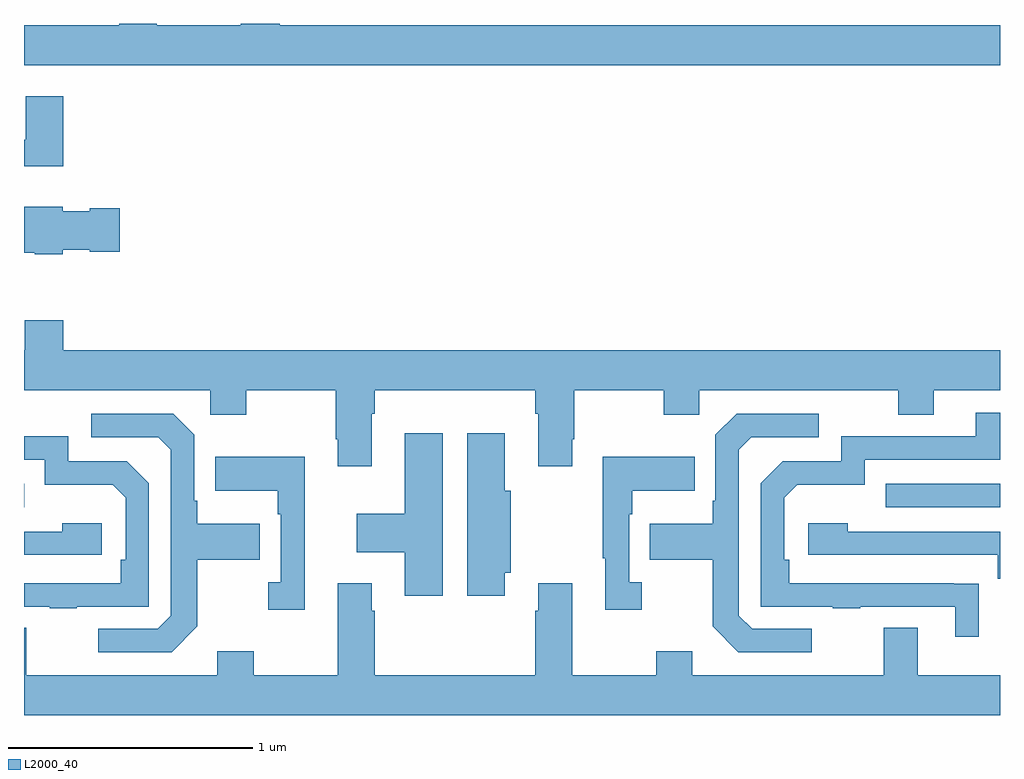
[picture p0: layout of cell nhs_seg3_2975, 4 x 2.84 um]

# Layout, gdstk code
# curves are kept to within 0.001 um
import gdstk
lib = gdstk.Library(unit=1e-6, precision=1e-09)
def R(c, l, rs):  # rectangles x0, y0, x1, y1
    for r in rs: c.add(gdstk.rectangle(r[:2], r[2:], *l))
def P(c, l, *ps):  # polygons
    for p in ps: c.add(gdstk.Polygon(p, *l))
L2000_40 = (2000, 40)

nhs_seg3_2975 = lib.new_cell('nhs_seg3_2975')
R(nhs_seg3_2975, L2000_40, [(265,720.417,265.001,720.513), (268.531,720.417,269,720.513)])
P(nhs_seg3_2975, L2000_40, [(269,722.392),(266.048,722.392),(266.048,722.4),(265.888,722.4),(265.888,722.392),(265.545,722.392),(265.545,722.4),(265.39,722.4),(265.39,722.392),(265,722.392),(265,722.228),(269,722.228)],
  [(265.16,722.101),(265.007,722.101),(265.007,721.924),(265,721.924),(265,721.814),(265.16,721.814)],
  [(265.158,721.472),(265.269,721.472),(265.269,721.465),(265.393,721.465),(265.393,721.643),(265.269,721.643),(265.269,721.63),(265.158,721.63),(265.158,721.648),(265,721.648),(265,721.46),(265.044,721.46),(265.044,721.454),(265.158,721.454)],
  [(265.16,721.184),(265.003,721.184),(265.003,721.06),(265,721.06),(265,720.896),(265.764,720.896),(265.764,720.797),(265.911,720.797),(265.911,720.896),(266.278,720.896),(266.278,720.697),(266.285,720.697),(266.285,720.585),(266.425,720.585),(266.425,720.8),(266.438,720.8),(266.438,720.896),(267.095,720.896),(267.095,720.8),(267.107,720.8),(267.107,720.585),(267.247,720.585),(267.247,720.697),(267.255,720.697),(267.255,720.896),(267.622,720.896),(267.622,720.797),(267.768,720.797),(267.768,720.896),(268.582,720.896),(268.582,720.797),(268.729,720.797),(268.729,720.896),(269,720.896),(269,721.06),(265.16,721.06)],
  [(268.913,720.104),(268.136,720.105),(268.136,720.202),(268.116,720.202),(268.116,720.456),(268.169,720.509),(268.446,720.509),(268.446,720.612),(269,720.612),(269,720.804),(268.901,720.804),(268.901,720.708),(268.35,720.708),(268.35,720.606),(268.11,720.606),(268.02,720.516),(268.02,720.009),(268.315,720.009),(268.315,720.004),(268.427,720.004),(268.427,720.009),(268.817,720.009),(268.817,719.886),(268.913,719.886)],
  [(265.711,719.929),(265.711,720.202),(265.967,720.202),(265.967,720.349),(265.711,720.349),(265.711,720.445),(265.698,720.445),(265.698,720.714),(265.611,720.801),(265.275,720.801),(265.275,720.705),(265.551,720.705),(265.602,720.654),(265.602,719.973),(265.548,719.919),(265.305,719.919),(265.305,719.823),(265.605,719.823)],
  [(268.228,719.919),(267.984,719.919),(267.93,719.973),(267.93,720.654),(267.981,720.705),(268.258,720.705),(268.258,720.801),(267.921,720.801),(267.834,720.714),(267.834,720.445),(267.822,720.445),(267.822,720.349),(267.565,720.349),(267.565,720.202),(267.822,720.202),(267.822,719.929),(267.927,719.823),(268.228,719.823)],
  [(266.971,720.15),(266.995,720.15),(266.995,720.486),(266.971,720.486),(266.971,720.721),(266.816,720.721),(266.816,720.054),(266.971,720.054)],
  [(266.716,720.721),(266.561,720.721),(266.561,720.391),(266.364,720.391),(266.364,720.233),(266.561,720.233),(266.561,720.054),(266.716,720.054)],
  [(265.217,720.009),(265.512,720.009),(265.512,720.516),(265.422,720.606),(265.182,720.606),(265.182,720.708),(265,720.708),(265,720.612),(265.086,720.612),(265.086,720.509),(265.363,720.509),(265.416,720.456),(265.416,720.202),(265.396,720.202),(265.396,720.105),(265,720.105),(265,720.009),(265.105,720.009),(265.105,720.004),(265.217,720.004)],
  [(266.15,720.625),(265.783,720.625),(265.783,720.485),(266.04,720.485),(266.04,720.389),(266.052,720.389),(266.052,720.11),(266.001,720.11),(266.001,719.997),(266.15,719.997)],
  [(267.532,720.11),(267.48,720.11),(267.48,720.389),(267.493,720.389),(267.493,720.485),(267.749,720.485),(267.749,720.625),(267.372,720.625),(267.372,720.209),(267.383,720.209),(267.383,719.997),(267.532,719.997)],
  [(269,720.318),(268.376,720.318),(268.376,720.352),(268.215,720.352),(268.215,720.222),(268.991,720.222),(268.991,720.125),(269,720.125)],
  [(265.318,720.352),(265.157,720.352),(265.157,720.318),(265,720.318),(265,720.222),(265.318,720.222)],
  [(269,719.728),(268.663,719.728),(268.663,719.923),(268.523,719.923),(268.523,719.728),(267.739,719.728),(267.739,719.827),(267.592,719.827),(267.592,719.728),(267.247,719.728),(267.247,720.106),(267.107,720.106),(267.107,719.993),(267.095,719.993),(267.095,719.728),(266.438,719.728),(266.438,719.993),(266.425,719.993),(266.425,720.106),(266.285,720.106),(266.285,719.728),(265.941,719.728),(265.941,719.827),(265.793,719.827),(265.793,719.728),(265.009,719.728),(265.009,719.923),(265,719.923),(265,719.564),(269,719.564)])

lib.write_gds('nhs_seg3_2975.gds')
